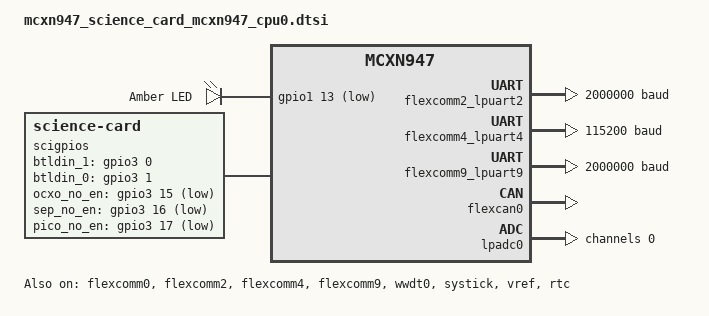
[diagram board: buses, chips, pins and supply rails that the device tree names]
/*
 * Copyright 2024 NXP
 *
 * SPDX-License-Identifier: Apache-2.0
 */

/* Common dts file to enable supported features for CPU 0.
 * This file is included by both the default variant
 * which is run from internal flash and the QSPI variant.
 */
/dts-v1/;

#include <nxp/nxp_mcxn94x.dtsi>
#include <zephyr/dt-bindings/i2c/i2c.h>
#include <zephyr/dt-bindings/gpio/gpio.h>
#include <zephyr/dt-bindings/adc/adc.h>
#include <zephyr/dt-bindings/adc/mcux-lpadc.h>
#include <zephyr/dt-bindings/spi/spi.h>
#include <zephyr/dt-bindings/gpio/nxp-kinetis-gpio.h>
#include <zephyr/dt-bindings/pwm/pwm.h>
#include <zephyr/dt-bindings/sensor/rm3100.h>

/ {
	cpus {
		/delete-node/ cpu@1;
	};

	oresat_demo: oresat-demo-enabled {}; /* Enable demos for supported boards */

	chosen {
		zephyr,sram = &sram0;
		zephyr,flash = &flash;
		zephyr,flash-controller = &fmu;
		zephyr,code-partition = &slot0_partition;
		zephyr,uart-mcumgr = &flexcomm4_lpuart4;
		zephyr,console = &flexcomm4_lpuart4;
		zephyr,shell-uart = &flexcomm4_lpuart4;
		zephyr,canbus = &flexcan0;
		zephyr,code-cpu1-partition = &slot1_partition;
		uart,ccc = &flexcomm2_lpuart2;
	};

	aliases{
		led0 = &amber_led;
		watchdog0 = &wwdt0;
		rtc = &rtc;
		adc0 = &lpadc0;
		instr = &flexcomm9_lpuart9;
	};

	leds {
		compatible = "gpio-leds";
		amber_led: led_1 {
			gpios = <&gpio1 13 GPIO_ACTIVE_LOW>;
			label = "Amber LED";
			status = "okay";
		};
	};

	scigpios: sci-gpios {
		compatible = "science-card";
		btldin_1_gpios = <&gpio3 0 GPIO_ACTIVE_HIGH>;	/* out. Set high to boot with the SD card? */
		btldin_0_gpios = <&gpio3 1 GPIO_ACTIVE_HIGH>;	/* out. Set high to boot with the SD card? */
		ocxo_no_en_gpios = <&gpio3 15 GPIO_ACTIVE_LOW>;	/* out. Set high to disable oxco */
		sep_no_en_gpios  = <&gpio3 16 GPIO_ACTIVE_LOW>;	/* out. Set high to disable septentrio */
		pico_no_en_gpios = <&gpio3 17 GPIO_ACTIVE_LOW>;	/* out. Set high to disable picozed */
	};
};

&flexcomm0 {
	status = "okay";
};

&flexcomm2 {
	status = "okay";
};

&flexcomm4 {
	status = "okay";
};

&flexcomm9 {
	status = "okay";
};

&flexcomm2_lpuart2 {
	current-speed = <2000000>;
	pinctrl-0 = <&pinmux_flexcomm2_lpuart>;
	pinctrl-names = "default";
	status = "okay";
};

&flexcomm4_lpuart4 {
	current-speed = <115200>;
	pinctrl-0 = <&pinmux_flexcomm4_lpuart>;
	pinctrl-names = "default";
	status = "okay";
};

&flexcomm9_lpuart9 {
	current-speed = <2000000>;
	pinctrl-0 = <&pinmux_flexcomm9_lpuart>;
	pinctrl-names = "default";
	status = "okay";
};

&flexcan0 {
	pinctrl-0 = <&pinmux_flexcan0>;
	pinctrl-names = "default";
	status = "okay";
};

/*
 * Default for this board is to allocate SRAM0-5 to cpu0 but the
 * application can have an application specific device tree to
 * allocate the SRAM0-7 differently.
 *
 * For example, SRAM0-6 could be allocated to cpu0 with only SRAM7
 * for cpu1. This would require the value of sram0 to have a DT_SIZE_K
 * of 384. You would have to make updates to cpu1 sram settings as well.
 */
&sram0 {
	compatible = "mmio-sram";
	reg = <0x20000000 DT_SIZE_K(320)>;
};

&sram {
	sramg: memory@20050000 {
		compatible = "mmio-sram";
		reg = <0x20050000 DT_SIZE_K(64)>;
	};
	sramh: memory@20060000 {
		compatible = "mmio-sram";
		reg = <0x20060000 DT_SIZE_K(32)>;
	};
};

&flash {
	partitions {
		compatible = "fixed-partitions";
		#address-cells = <1>;
		#size-cells = <1>;

		/*
		 * Partition sizes must be aligned
		 * to the flash memory sector size of 8KiB.
		 *
		 * There is a 16KiB separation between slot0 and slot1. This replicates the slot
		 * that exists in the mag and template firmware.
		 */
		boot_partition: partition@0 {
			label = "mcuboot";
			reg = <0x00000000 DT_SIZE_K(80)>;
		};
		slot0_partition: partition@14000 {
			label = "image-0";
			reg = <0x00014000 DT_SIZE_K(464)>;
		};
		slot1_partition: partition@8C000 {
			label = "image-1";
			reg = <0x0008C000 DT_SIZE_K(464)>;
		};
		storage_partition: partition@100000 {
			label = "storage";
			reg = <0x00100000 DT_SIZE_K(1024)>;
		};
	};
};

&mbox {
	status = "disabled";
};

&gpio4 {
	status = "okay";
};

&gpio1 {
	status = "okay";
};

&gpio3 {
	status = "okay";
};

&gpio0 {
	status = "okay";
};

&gpio2 {
	status = "okay";
};

&edma0 {
	status = "disabled";
};

&wwdt0 {
	status = "okay";
};

&systick {
	status = "okay";
};

&ctimer0 {
	status = "disabled";
};

&vref {
	status = "okay";
};

&lptmr0 {
	status = "disabled";
};

&flexio0 {
	status = "disabled";
};

&mrt0_channel0 {
	status = "disabled";
};

&rtc {
	status = "okay";
};

&enet {
	status = "disabled";
};

&lpadc0 {
	pinctrl-names = "default";
	pinctrl-0 = <&pinmux_lpadc0>;
	#address-cells = <1>;
	#size-cells = <0>;
	status = "okay";
	lpadc0_0: channel@0 { /* Current Draw from MAX */
		reg = <0>;
		zephyr,gain = "ADC_GAIN_1";
		zephyr,reference = "ADC_REF_EXTERNAL0";
		zephyr,vref-mv = <3300>;
		zephyr,acquisition-time = <ADC_ACQ_TIME(ADC_ACQ_TIME_MICROSECONDS,2)>;
		zephyr,resolution = <12>;
		zephyr,oversampling = <7>;
		zephyr,input-positive = <MCUX_LPADC_CH0A>;
		/delete-property/ zephyr,differential;
	};
};
